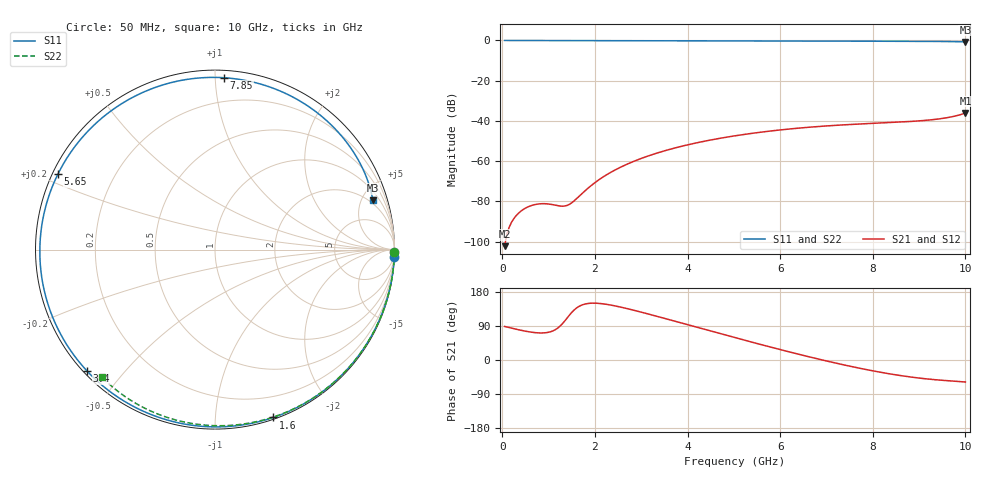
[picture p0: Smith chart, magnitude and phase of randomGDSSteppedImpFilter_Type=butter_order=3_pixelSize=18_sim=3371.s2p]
! freq	dB(S11)	phase(S11)	dB(S12)	phase(S12)
!  dB(S21)	phase(S21)	dB(S22)	phase(S22)
!S-par simulation data
#  GHz  S  DB  R 50
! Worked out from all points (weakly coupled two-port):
!   200 points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, 50 MHz to 10 GHz, reference 50 ohm
!   highest |S21| = -36.08 dB at 10 GHz (marker M1); lowest = -102.2 dB at 50 MHz (marker M2)
!   lowest |S11| = -0.7 dB at 10 GHz (marker M3), VSWR 24.34, Z = 84.8 + j306 ohm
!   |S11| at or under -10 dB: nowhere
!   |S22| runs from -0.5 to 0.0 dB; largest |S21 - S12| = 0
!   S11 on the Smith chart (normalised r, x): 50 MHz: 0, -49; 1.6 GHz: 0.01, -1.41; 3.4 GHz: 0.01, -0.40; 5.65 GHz: 0.02, +0.23; 7.85 GHz: 0.04, +1.05; 10 GHz: 1.70, +6.12
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0.05  -0.00 -2.3  -102.23 88.5  -102.23 88.5  -0.00 -0.8
0.4  -0.03 -18.5  -84.85 78.5  -84.85 78.5  -0.01 -6.1
0.75  -0.04 -34.3  -81.36 71.8  -81.36 71.8  -0.01 -11.3
1.15  -0.06 -51.9  -81.88 80.3  -81.88 80.3  -0.02 -17.3
1.5  -0.08 -66.7  -80.66 125.6  -80.66 125.6  -0.03 -22.5
1.6  -0.09 -70.8  -78.71 136.9  -78.71 136.9  -0.03 -24.0
1.75  -0.09 -76.9  -75.48 146.4  -75.48 146.4  -0.03 -26.2
2.1  -0.11 -90.6  -69.01 149.2  -69.01 149.2  -0.04 -31.3
2.45  -0.12 -103.7  -64.19 142.4  -64.19 142.4  -0.05 -36.4
2.9  -0.14 -119.7  -59.51 129.4  -59.51 129.4  -0.06 -42.8
3.4  -0.15 -136.6  -55.55 113.3  -55.55 113.3  -0.07 -49.9
4.2  -0.18 -161.9  -50.86 86.4  -50.86 86.4  -0.09 -60.9
5.05  -0.22 172.3  -47.30 58.1  -47.30 58.1  -0.11 -72.2
5.65  -0.26 154.4  -45.39 38.7  -45.39 38.7  -0.13 -79.9
6.15  -0.28 139.5  -44.11 22.9  -44.11 22.9  -0.15 -86.3
6.7  -0.31 122.8  -42.98 6.2  -42.98 6.2  -0.18 -93.1
7.3  -0.34 104.3  -42.04 -10.9  -42.04 -10.9  -0.21 -100.3
7.85  -0.36 87.1  -41.36 -25.1  -41.36 -25.1  -0.25 -106.8
8.35  -0.39 71.2  -40.82 -36.2  -40.82 -36.2  -0.29 -112.7
9.25  -0.47 42.2  -39.47 -50.9  -39.47 -50.9  -0.37 -123.0
9.65  -0.55 29.1  -38.19 -54.9  -38.19 -54.9  -0.41 -127.5
10  -0.71 17.3  -36.08 -58.1  -36.08 -58.1  -0.45 -131.4
